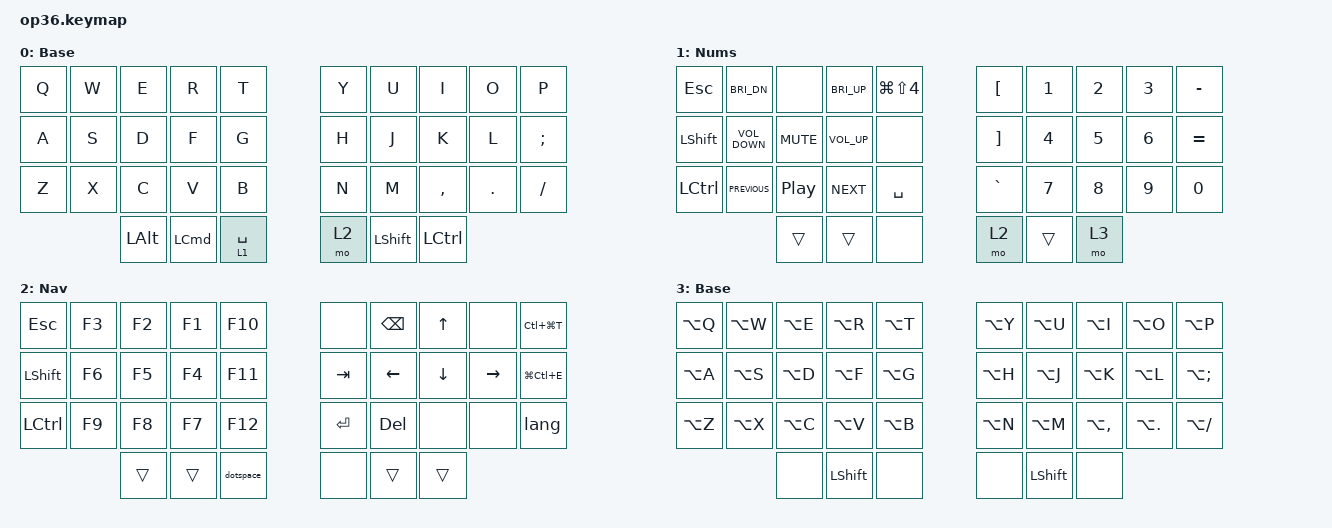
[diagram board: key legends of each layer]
#include "keys_ru.h"
#include <behaviors.dtsi>
#include <dt-bindings/zmk/keys.h>

&mt {
    quick-tap-ms = <175>;
    flavor = "tap-preferred";
    require-prior-idle-ms = <150>;
    tapping-term-ms = <250>;
    retro-tap;
    hold-trigger-on-release;
};

&lt {
    quick-tap-ms = <175>;
    require-prior-idle-ms = <150>;
    tapping-term-ms = <250>;
    retro-tap;
    hold-trigger-on-release;
};

/ {
    behaviors {
        hml: home_row_mod_left {
            compatible = "zmk,behavior-hold-tap";
            #binding-cells = <2>;
            flavor = "balanced";
            require-prior-idle-ms = <150>;
            tapping-term-ms = <280>;
            quick-tap-ms = <175>;
            bindings = <&kp>, <&kp>;

            hold-trigger-key-positions = <5 6 7 8 9 15 16 17 18 19 25 26 27 28 29 33 34 35>;
            hold-trigger-on-release;
        };

        hmr: home_row_mod_right {
            compatible = "zmk,behavior-hold-tap";
            #binding-cells = <2>;
            flavor = "balanced";
            require-prior-idle-ms = <150>;
            tapping-term-ms = <280>;
            quick-tap-ms = <175>;
            bindings = <&kp>, <&kp>;

            hold-trigger-key-positions = <0 1 2 3 4 10 11 12 13 14 20 21 22 23 24 30 31 32>;
            hold-trigger-on-release;
        };
    };

    combos { compatible = "zmk,combos"; };

    macros {
        dotspace: dotspace {
            compatible = "zmk,behavior-macro";
            #binding-cells = <0>;
            bindings = <&kp KP_DOT &kp SPACE>;
            label = "DOTSPACE";
        };

        lang: lang {
            compatible = "zmk,behavior-macro";
            #binding-cells = <0>;
            bindings =
                <&macro_press>,
                <&kp LEFT_CONTROL>,
                <&macro_wait_time 40>,
                <&macro_tap>,
                <&kp SPACE>,
                <&macro_wait_time 40>,
                <&macro_release>,
                <&kp LEFT_CONTROL>;

            label = "LANG";
            wait-ms = <20>;
            tap-ms = <20>;
        };
    };

    keymap {
        compatible = "zmk,keymap";

        base {
            bindings = <
  &kp Q  &kp W  &kp E  &kp R         &kp T                                   &kp Y           &kp U             &kp I      &kp O    &kp P
  &kp A  &kp S  &kp D  &kp F         &kp G                                   &kp H           &kp J             &kp K      &kp L    &kp SEMICOLON
  &kp Z  &kp X  &kp C  &kp V         &kp B                                   &kp N           &kp M             &kp COMMA  &kp DOT  &kp SLASH
                       &kp LEFT_ALT  &kp LEFT_COMMAND  &lt 1 SPACE    &mo 2  &kp LEFT_SHIFT  &kp LEFT_CONTROL
            >;

            display-name = "Base";
        };

        num {
            bindings = <
  &kp ESC           &kp C_BRI_DN       &none             &kp C_BRI_UP     &kp LG(LS(N4))                  &kp LEFT_BRACKET   &kp NUMBER_1  &kp NUMBER_2  &kp NUMBER_3  &kp MINUS
  &kp LEFT_SHIFT    &kp C_VOLUME_DOWN  &kp C_MUTE        &kp C_VOLUME_UP  &none                           &kp RIGHT_BRACKET  &kp NUMBER_4  &kp NUMBER_5  &kp NUMBER_6  &kp EQUAL
  &kp LEFT_CONTROL  &kp C_PREVIOUS     &kp C_PLAY_PAUSE  &kp C_NEXT       &kp SPACE                       &kp GRAVE          &kp NUMBER_7  &kp NUMBER_8  &kp NUMBER_9  &kp NUMBER_0
                                                         &trans           &trans          &none    &mo 2  &trans             &mo 3
            >;

            display-name = "Nums";
        };

        nav {
            bindings = <
  &kp ESC           &kp F3  &kp F2  &kp F1  &kp F10                      &none      &kp BACKSPACE   &kp UP_ARROW    &none            &kp LC(LG(T))
  &kp LEFT_SHIFT    &kp F6  &kp F5  &kp F4  &kp F11                      &kp TAB    &kp LEFT_ARROW  &kp DOWN_ARROW  &kp RIGHT_ARROW  &kp LG(LC(E))
  &kp LEFT_CONTROL  &kp F9  &kp F8  &kp F7  &kp F12                      &kp ENTER  &kp DELETE      &none           &none            &lang
                                    &trans  &trans   &dotspace    &none  &trans     &trans
            >;

            display-name = "Nav";
        };

        sym {
            display-name = "Base";
            bindings = <
  &kp LA(Q)  &kp LA(W)  &kp LA(E)  &kp LA(R)  &kp LA(T)                       &kp LA(Y)       &kp LA(U)  &kp LA(I)      &kp LA(O)    &kp LA(P)
  &kp LA(A)  &kp LA(S)  &kp LA(D)  &kp LA(F)  &kp LA(G)                       &kp LA(H)       &kp LA(J)  &kp LA(K)      &kp LA(L)    &kp LA(SEMICOLON)
  &kp LA(Z)  &kp LA(X)  &kp LA(C)  &kp LA(V)  &kp LA(B)                       &kp LA(N)       &kp LA(M)  &kp LA(COMMA)  &kp LA(DOT)  &kp LA(SLASH)
                                   &none      &kp LEFT_SHIFT  &none    &none  &kp LEFT_SHIFT  &none
            >;

            label = "Sym";
        };
    };
};
